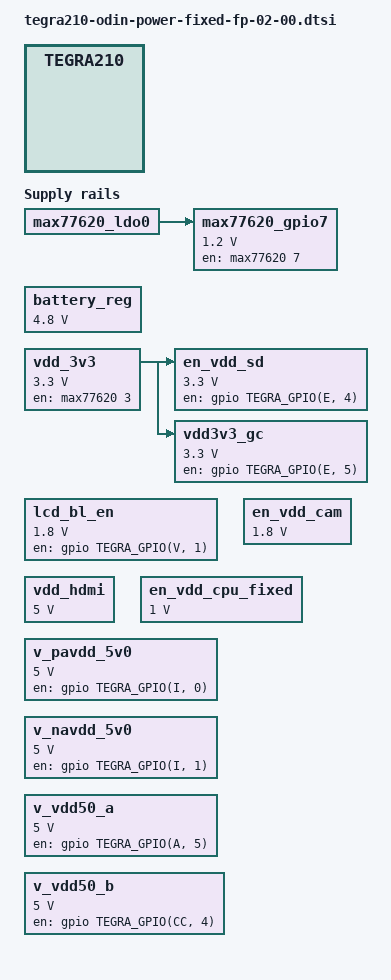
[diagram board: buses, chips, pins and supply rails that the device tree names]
/*
 * Copyright (c) 2014-2015, NVIDIA CORPORATION.  All rights reserved.
 *
 * This program is free software; you can redistribute it and/or modify
 * it under the terms of the GNU General Public License as published by
 * the Free Software Foundation; either version 2 of the License, or
 * (at your option) any later version.
 *
 * This program is distributed in the hope that it will be useful, but WITHOUT
 * ANY WARRANTY; without even the implied warranty of MERCHANTABILITY or
 * FITNESS FOR A PARTICULAR PURPOSE.  See the GNU General Public License for
 * more details.
 *
 * You should have received a copy of the GNU General Public License along
 * with this program; if not, write to the Free Software Foundation, Inc.,
 * 51 Franklin Street, Fifth Floor, Boston, MA  02110-1301, USA.
 */

#include <dt-bindings/gpio/tegra-gpio.h>

/ {
	regulators {
		compatible = "simple-bus";
		device_type = "fixed-regulators";
		#address-cells = <1>;
		#size-cells = <0>;

		battery_reg: regulator@0 {
			compatible = "regulator-fixed";
			reg = <0>;
			regulator-name = "vdd-ac-bat";
			regulator-min-microvolt = <4800000>;
			regulator-max-microvolt = <4800000>;
			regulator-always-on;
		};

		vdd_3v3: regulator@1 {
			compatible = "regulator-fixed-sync";
			reg = <1>;
			regulator-name = "vdd-3v3";
			regulator-min-microvolt = <3300000>;
			regulator-max-microvolt = <3300000>;
			regulator-always-on;
			gpio = <&max77620 3 0>;
			enable-active-high;
			regulator-enable-ramp-delay = <160>;
			regulator-disable-ramp-delay = <10000>;
			consumers {
				c1 {
					regulator-consumer-supply = "avdd_usb";
					regulator-consumer-device = "tegra-ehci.0";
				};
				c2 {
					regulator-consumer-supply = "avdd_usb";
					regulator-consumer-device = "tegra-ehci.1";
				};
				c3 {
					regulator-consumer-supply = "avdd_usb";
					regulator-consumer-device = "tegra-ehci.2";
				};
				c5 {
					regulator-consumer-supply = "vdd";
					regulator-consumer-device = "1-004d";
				};
			};
		};

		max77620_gpio7: regulator@2 {
			compatible = "regulator-fixed-sync";
			reg = <2>;
			regulator-name = "max77620-gpio7";
			regulator-min-microvolt = <1200000>;
			regulator-max-microvolt = <1200000>;
			regulator-boot-on;
			gpio = <&max77620 7 0>;
			enable-active-high;
			regulator-always-on;
			regulator-enable-ramp-delay = <240>;
			regulator-disable-ramp-delay = <11340>;
			vin-supply = <&max77620_ldo0>;
		};

		lcd_bl_en: regulator@3 {
			compatible = "regulator-fixed-sync";
			reg = <3>;
			regulator-name = "lcd-bl-en";
			regulator-min-microvolt = <1800000>;
			regulator-max-microvolt = <1800000>;
			gpio = <&gpio TEGRA_GPIO(V, 1) 0>;
			enable-active-high;
		};

		en_vdd_sd: regulator@4 {
			compatible = "regulator-fixed-sync";
			reg = <4>;
			regulator-name = "en-vdd-sd";
			regulator-min-microvolt = <3300000>;
			regulator-max-microvolt = <3300000>;
			gpio = <&gpio TEGRA_GPIO(E, 4) 0>;
			enable-active-high;
			regulator-enable-ramp-delay = <472>;
			regulator-disable-ramp-delay = <4880>;
			vin-supply = <&vdd_3v3>;
		};

		en_vdd_cam: regulator@5 {
			compatible = "regulator-fixed";
			reg = <5>;
			regulator-name = "en-vdd-cam";
			regulator-min-microvolt = <1800000>;
			regulator-max-microvolt = <1800000>;
		};

		vdd_hdmi: regulator@6 {
			compatible = "regulator-fixed";
			reg = <6>;
			regulator-name = "vdd-hdmi";
			regulator-min-microvolt = <5000000>;
			regulator-max-microvolt = <5000000>;
		};

		en_vdd_cpu_fixed: regulator@7 {
			compatible = "regulator-fixed";
			reg = <7>;
			regulator-name = "vdd-cpu-fixed";
			regulator-min-microvolt = <1000000>;
			regulator-max-microvolt = <1000000>;
		};

		v_pavdd_5v0: regulator@9 {
			compatible = "regulator-fixed-sync";
			reg = <9>;
			regulator-name = "v_pavdd_5v0";
			regulator-min-microvolt = <5000000>;
			regulator-max-microvolt = <5000000>;
			gpio = <&gpio TEGRA_GPIO(I, 0) 0>;
			enable-active-high;
			regulator-enable-ramp-delay = <232>;
		};

		v_navdd_5v0: regulator@10 {
			compatible = "regulator-fixed-sync";
			reg = <10>;
			regulator-name = "v_navdd_5v0";
			regulator-min-microvolt = <5000000>;
			regulator-max-microvolt = <5000000>;
			gpio = <&gpio TEGRA_GPIO(I, 1) 0>;
			enable-active-high;
			regulator-enable-ramp-delay = <232>;
		};

		v_vdd50_a: regulator@11 {
			compatible = "regulator-fixed-sync";
			reg = <11>;
			regulator-name = "v_vdd50_a";
			regulator-min-microvolt = <5000000>;
			regulator-max-microvolt = <5000000>;
			gpio = <&gpio TEGRA_GPIO(A, 5) 0>;
			enable-active-high;
			gpio-open-drain;
		};

		v_vdd50_b: regulator@12 {
			compatible = "regulator-fixed-sync";
			reg = <12>;
			regulator-name = "v_vdd50_b";
			regulator-min-microvolt = <5000000>;
			regulator-max-microvolt = <5000000>;
			gpio = <&gpio TEGRA_GPIO(CC, 4) 0>;
			enable-active-high;
			gpio-open-drain;
		};

		vdd3v3_gc: regulator@13 {
			compatible = "regulator-fixed-sync";
			reg = <13>;
			regulator-name = "vdd3v3_gc";
			regulator-min-microvolt = <3300000>;
			regulator-max-microvolt = <3300000>;
			gpio = <&gpio TEGRA_GPIO(E, 5) 0>;
			enable-active-high;
			regulator-enable-ramp-delay = <472>;
			regulator-disable-ramp-delay = <4880>;
			vin-supply = <&vdd_3v3>;
		};

		vdd_cdc_1v2_aud: regulator@101 {
			compatible = "regulator-fixed-sync";
			reg = <101>;
			status = "disabled";
			regulator-name = "vdd_cdc_1v2_aud";
			regulator-min-microvolt = <1200000>;
			regulator-max-microvolt = <1200000>;
			enable-active-high;
			startup-delay-us = <250000>;
		};
	};
};
